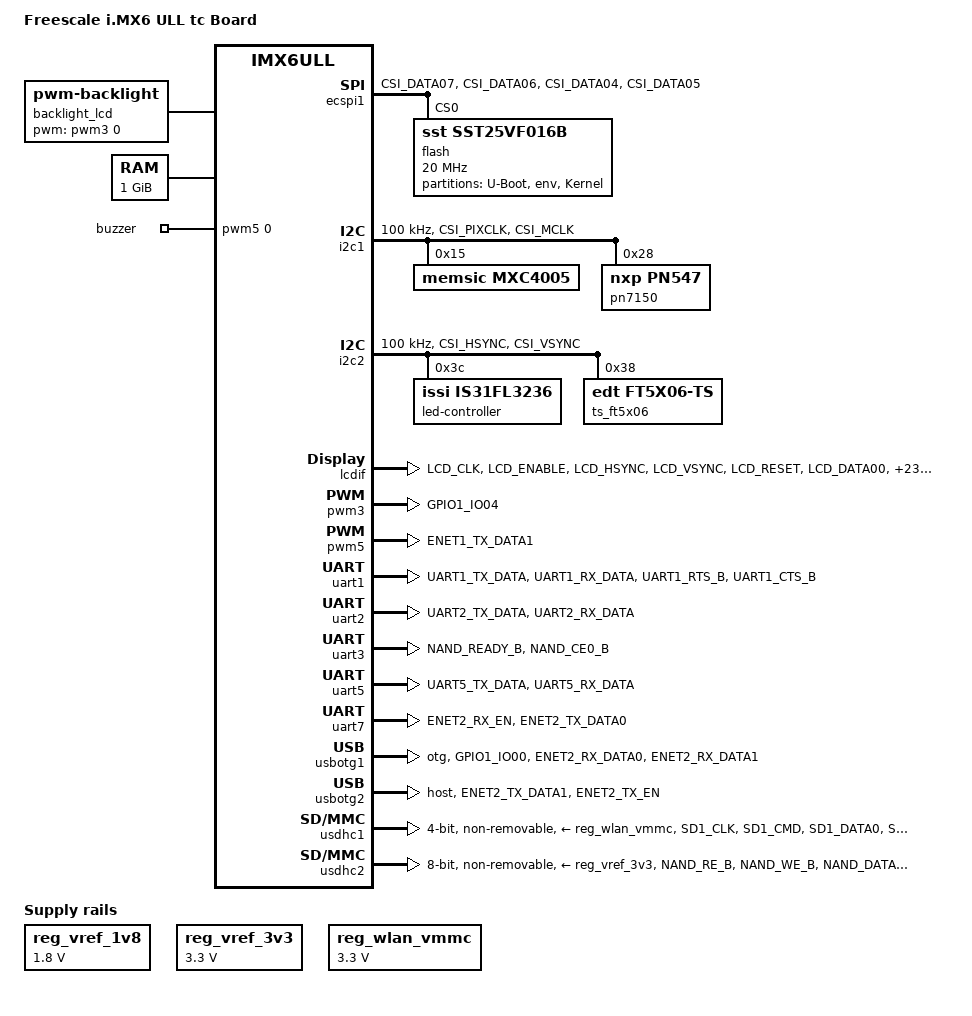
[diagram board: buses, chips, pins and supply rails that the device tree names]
// SPDX-License-Identifier: (GPL-2.0+ OR MIT)
/*
 * Copyright 2021 Boundary Devices
 */

/dts-v1/;

#include <dt-bindings/input/input.h>
#include "imx6ull.dtsi"

&iomuxc {
	pinctrl-names = "default";
	pinctrl-0 = <&pinctrl_hog>;

	pinctrl_backlight_lcd: backlight-lcdgrp {
		fsl,pins = <
#define GP_BACKLIGHT_LCD	<&gpio1 9 GPIO_ACTIVE_HIGH>
			MX6UL_PAD_GPIO1_IO09__GPIO1_IO09	0x030b0
		>;
	};

	pinctrl_bt_rfkill: bt-rfkillgrp {
		fsl,pins = <
#define GP_BT_RFKILL_RESET	<&gpio4 23 GPIO_ACTIVE_LOW>
			MX6UL_PAD_CSI_DATA02__GPIO4_IO23	0x030b0
		>;
	};

	pinctrl_ecspi1: ecspi1grp {
		fsl,pins = <
			MX6UL_PAD_CSI_DATA07__ECSPI1_MISO	0x100b1
			MX6UL_PAD_CSI_DATA06__ECSPI1_MOSI	0x100b1
			MX6UL_PAD_CSI_DATA04__ECSPI1_SCLK	0x100b1
#define GP_ECSPI1_NOR_CS	<&gpio4 26 GPIO_ACTIVE_LOW>
			MX6UL_PAD_CSI_DATA05__GPIO4_IO26	0x0b0b1
		>;
	};

	pinctrl_hog: hoggrp {
		fsl,pins = <
#define GP_COIN_C		<&gpio2 3 GPIO_ACTIVE_HIGH>
			MX6UL_PAD_ENET1_TX_DATA0__GPIO2_IO03	0x1b0b0
#define GP_COIN_IN		<&gpio2 5 GPIO_ACTIVE_HIGH>
			MX6UL_PAD_ENET1_TX_EN__GPIO2_IO05	0x1b0b0
#define GP_COIN_DROP_PWR	<&gpio2 6 GPIO_ACTIVE_HIGH>
			MX6UL_PAD_ENET1_TX_CLK__GPIO2_IO06	0x1b0b0
#define GP_GPIO_0		<&gpio2 0 GPIO_ACTIVE_HIGH>
			MX6UL_PAD_ENET1_RX_DATA0__GPIO2_IO00	0x1b0b0
#define GP_GPIO_1		<&gpio2 1 GPIO_ACTIVE_HIGH>
			MX6UL_PAD_ENET1_RX_DATA1__GPIO2_IO01	0x1b0b0
#define GP_GPIO_2		<&gpio2 2 GPIO_ACTIVE_HIGH>
			MX6UL_PAD_ENET1_RX_EN__GPIO2_IO02	0x1b0b0
#define GP_GPIO_3		<&gpio2 14 GPIO_ACTIVE_HIGH>
			MX6UL_PAD_ENET2_TX_CLK__GPIO2_IO14	0x1b0b0
#define GP_GPIO_4		<&gpio2 15 GPIO_ACTIVE_HIGH>
			MX6UL_PAD_ENET2_RX_ER__GPIO2_IO15	0x1b0b0
#define GP_PROX			<&gpio2 7 GPIO_ACTIVE_HIGH>
			MX6UL_PAD_ENET1_RX_ER__GPIO2_IO07	0x1b0b0
#define GP_CARD_SENSE		<&gpio1 7 GPIO_ACTIVE_HIGH>
			MX6UL_PAD_GPIO1_IO07__GPIO1_IO07	0x1b0b0
			/* Test points */
		>;
	};

	pinctrl_i2c1: i2c1grp {
		fsl,pins = <
			MX6UL_PAD_CSI_PIXCLK__I2C1_SCL		0x4001b8b1
			MX6UL_PAD_CSI_MCLK__I2C1_SDA		0x4001b8b1
		>;
	};

	pinctrl_i2c1_1: i2c1-1grp {
		fsl,pins = <
#define GP_I2C1_SCL		<&gpio4 18 GPIO_ACTIVE_HIGH>
			MX6UL_PAD_CSI_PIXCLK__GPIO4_IO18	0x4001b8b1
#define GP_I2C1_SDA		<&gpio4 17 GPIO_ACTIVE_HIGH>
			MX6UL_PAD_CSI_MCLK__GPIO4_IO17	0x4001b8b1
		>;
	};

	pinctrl_i2c1_mxc4005: i2c1-mxc4005grp {
		fsl,pins = <
#define GPIRQ_ACC		<&gpio4 24 IRQ_TYPE_LEVEL_LOW>
			MX6UL_PAD_CSI_DATA03__GPIO4_IO24	0x1b0b0
		>;
	};

	pinctrl_i2c1_pn7150: i2c1-pn7150grp {
		fsl,pins = <
#define GP_EN_PN7150		<&gpio1 6 GPIO_ACTIVE_HIGH>
			MX6UL_PAD_GPIO1_IO06__GPIO1_IO06	0x0b0b0
#define GPIRQ_PN7150		<&gpio1 5 GPIO_ACTIVE_LOW>
			MX6UL_PAD_GPIO1_IO05__GPIO1_IO05	0x1b0b0
		>;
	};

	pinctrl_i2c2: i2c2grp {
		fsl,pins = <
			MX6UL_PAD_CSI_HSYNC__I2C2_SCL		0x4001b8b1
			MX6UL_PAD_CSI_VSYNC__I2C2_SDA		0x4001b8b1
		>;
	};

	pinctrl_i2c2_1: i2c2-1grp {
		fsl,pins = <
#define GP_I2C2_SCL		<&gpio4 20 GPIO_ACTIVE_HIGH>
			MX6UL_PAD_CSI_HSYNC__GPIO4_IO20		0x4001b8b1
#define GP_I2C2_SDA		<&gpio4 19 GPIO_ACTIVE_HIGH>
			MX6UL_PAD_CSI_VSYNC__GPIO4_IO19		0x4001b8b1
		>;
	};

	pinctrl_i2c2_is31fl3236: i2c2-is31fl3236grp {
		fsl,pins = <
#define GP_I2C2_IS31_SHUTDOWN	<&gpio1 8 GPIO_ACTIVE_LOW>
			MX6UL_PAD_GPIO1_IO08__GPIO1_IO08	0x0b0b0
		>;
	};

	pinctrl_lcdif: lcdifgrp {
		fsl,pins = <
			MX6UL_PAD_LCD_CLK__LCDIF_CLK		0x79
			MX6UL_PAD_LCD_ENABLE__GPIO3_IO01	0x30b0
			MX6UL_PAD_LCD_HSYNC__LCDIF_HSYNC	0x79
			MX6UL_PAD_LCD_VSYNC__LCDIF_VSYNC	0x79
			MX6UL_PAD_LCD_RESET__GPIO3_IO04		0xb0b0
			MX6UL_PAD_LCD_DATA00__LCDIF_DATA00	0x79
			MX6UL_PAD_LCD_DATA01__LCDIF_DATA01	0x79
			MX6UL_PAD_LCD_DATA02__LCDIF_DATA02	0x79
			MX6UL_PAD_LCD_DATA03__LCDIF_DATA03	0x79
			MX6UL_PAD_LCD_DATA04__LCDIF_DATA04	0x79
			MX6UL_PAD_LCD_DATA05__LCDIF_DATA05	0x79
			MX6UL_PAD_LCD_DATA06__LCDIF_DATA06	0x79
			MX6UL_PAD_LCD_DATA07__LCDIF_DATA07	0x79
			MX6UL_PAD_LCD_DATA08__LCDIF_DATA08	0x79
			MX6UL_PAD_LCD_DATA09__LCDIF_DATA09	0x79
			MX6UL_PAD_LCD_DATA10__LCDIF_DATA10	0x79
			MX6UL_PAD_LCD_DATA11__LCDIF_DATA11	0x79
			MX6UL_PAD_LCD_DATA12__LCDIF_DATA12	0x79
			MX6UL_PAD_LCD_DATA13__LCDIF_DATA13	0x79
			MX6UL_PAD_LCD_DATA14__LCDIF_DATA14	0x79
			MX6UL_PAD_LCD_DATA15__LCDIF_DATA15	0x79
			MX6UL_PAD_LCD_DATA16__LCDIF_DATA16	0x79
			MX6UL_PAD_LCD_DATA17__LCDIF_DATA17	0x79
			MX6UL_PAD_LCD_DATA18__LCDIF_DATA18	0x79
			MX6UL_PAD_LCD_DATA19__LCDIF_DATA19	0x79
			MX6UL_PAD_LCD_DATA20__LCDIF_DATA20	0x79
			MX6UL_PAD_LCD_DATA21__LCDIF_DATA21	0x79
			MX6UL_PAD_LCD_DATA22__LCDIF_DATA22	0x79
			MX6UL_PAD_LCD_DATA23__LCDIF_DATA23	0x79
		>;
	};

	pinctrl_pwm3: pwm3grp {
		/* Backlight */
		fsl,pins = <
			MX6UL_PAD_GPIO1_IO04__PWM3_OUT		0x030b0
		>;
	};

	pinctrl_pwm5: pwm5grp {
		/* Buzzer */
		fsl,pins = <
			MX6UL_PAD_ENET1_TX_DATA1__PWM5_OUT	0x030b0
		>;
	};

	pinctrl_reg_wlan_vmmc: reg-wlan-vmmcgrp {
		fsl,pins = <
#define GP_REG_WLAN_VMMC	<&gpio4 22 GPIO_ACTIVE_HIGH>
			MX6UL_PAD_CSI_DATA01__GPIO4_IO22	0x030b0
		>;
	};

	pinctrl_ts_ft5x06: ts-ft5x06grp {
		fsl,pins = <
#define GPIRQ_TS_FT5X06		<&gpio1 1 IRQ_TYPE_EDGE_FALLING>
#define GP_TS_FT5X06_IRQ	<&gpio1 1 GPIO_ACTIVE_LOW>
			MX6UL_PAD_GPIO1_IO01__GPIO1_IO01	0x1b0b0
#define GP_TS_FT5X06_RESET	<&gpio1 2 GPIO_ACTIVE_LOW>
			MX6UL_PAD_GPIO1_IO02__GPIO1_IO02	0x0b0b0
		>;
	};

	pinctrl_uart1: uart1grp {
		fsl,pins = <
			MX6UL_PAD_UART1_TX_DATA__UART1_DCE_TX	0x1b0b1
			MX6UL_PAD_UART1_RX_DATA__UART1_DCE_RX	0x1b0b1
			MX6UL_PAD_UART1_RTS_B__UART1_DCE_RTS	0x1b0b1
			MX6UL_PAD_UART1_CTS_B__UART1_DCE_CTS	0x1b0b1
		>;
	};

	pinctrl_uart2: uart2grp {
		fsl,pins = <
			MX6UL_PAD_UART2_TX_DATA__UART2_DCE_TX	0x1b0b1
			MX6UL_PAD_UART2_RX_DATA__UART2_DCE_RX	0x1b0b1
		>;
	};

	pinctrl_uart3: uart3grp {
		fsl,pins = <
			MX6UL_PAD_NAND_READY_B__UART3_DCE_TX	0x1b0b1
			MX6UL_PAD_NAND_CE0_B__UART3_DCE_RX	0x1b0b1
		>;
	};

	pinctrl_uart5: uart5grp {
		fsl,pins = <
			/* J9 */
			MX6UL_PAD_UART5_TX_DATA__UART5_DCE_TX	0x1b0b1
			MX6UL_PAD_UART5_RX_DATA__UART5_DCE_RX	0x1b0b1
		>;
	};

	pinctrl_uart7: uart7grp {
		fsl,pins = <
			/* J9 also */
			MX6UL_PAD_ENET2_RX_EN__UART7_DCE_TX	0x1b0b1
			MX6UL_PAD_ENET2_TX_DATA0__UART7_DCE_RX	0x1b0b1
		>;
	};

	pinctrl_usbotg1: usbotg1grp {
		fsl,pins = <
			MX6UL_PAD_GPIO1_IO00__ANATOP_OTG1_ID	0x1b0b0
			MX6UL_PAD_ENET2_RX_DATA0__USB_OTG1_PWR	0x030b0
			MX6UL_PAD_ENET2_RX_DATA1__USB_OTG1_OC	0x1b0b0
		>;
	};

	pinctrl_usbotg2: usbotg2grp {
		fsl,pins = <
			MX6UL_PAD_ENET2_TX_DATA1__USB_OTG2_PWR	0x030b0
			MX6UL_PAD_ENET2_TX_EN__USB_OTG2_OC	0x1b0b0
		>;
	};

	pinctrl_usdhc1_50mhz: usdhc1-50mhzgrp {
		/* QCA9377-3 */
		fsl,pins = <
			MX6UL_PAD_SD1_CLK__USDHC1_CLK		0x10031
			MX6UL_PAD_SD1_CMD__USDHC1_CMD		0x17031
			MX6UL_PAD_SD1_DATA0__USDHC1_DATA0	0x17031
			MX6UL_PAD_SD1_DATA1__USDHC1_DATA1	0x17031
			MX6UL_PAD_SD1_DATA2__USDHC1_DATA2	0x17031
			MX6UL_PAD_SD1_DATA3__USDHC1_DATA3	0x17031
			MX6UL_PAD_GPIO1_IO03__OSC32K_32K_OUT	0x100b0		/* slow clock */
#define GP_BT_UART_WH		<&gpio4 21 GPIO_ACTIVE_HIGH>
			MX6UL_PAD_CSI_DATA00__GPIO4_IO21	0x1b0b0
#define GPIRQ_WLAN		<&gpio4 16 IRQ_TYPE_LEVEL_LOW>
			MX6UL_PAD_NAND_DQS__GPIO4_IO16		0x1b0b0
		>;
	};

	pinctrl_usdhc1_100mhz: usdhc1-50mhzgrp {
		fsl,pins = <
			MX6UL_PAD_SD1_CLK__USDHC1_CLK		0x100b9
			MX6UL_PAD_SD1_CMD__USDHC1_CMD		0x170b9
			MX6UL_PAD_SD1_DATA0__USDHC1_DATA0	0x170b9
			MX6UL_PAD_SD1_DATA1__USDHC1_DATA1	0x170b9
			MX6UL_PAD_SD1_DATA2__USDHC1_DATA2	0x170b9
			MX6UL_PAD_SD1_DATA3__USDHC1_DATA3	0x170b9
		>;
	};

	pinctrl_usdhc1_200mhz: usdhc1-50mhzgrp {
		fsl,pins = <
			MX6UL_PAD_SD1_CLK__USDHC1_CLK		0x100f9
			MX6UL_PAD_SD1_CMD__USDHC1_CMD		0x170f9
			MX6UL_PAD_SD1_DATA0__USDHC1_DATA0	0x170f9
			MX6UL_PAD_SD1_DATA1__USDHC1_DATA1	0x170f9
			MX6UL_PAD_SD1_DATA2__USDHC1_DATA2	0x170f9
			MX6UL_PAD_SD1_DATA3__USDHC1_DATA3	0x170f9
		>;
	};

	pinctrl_usdhc2_50mhz: usdhc2-50mhzgrp {
		fsl,pins = <
			MX6UL_PAD_NAND_RE_B__USDHC2_CLK		0x10071
			MX6UL_PAD_NAND_WE_B__USDHC2_CMD		0x17071
			MX6UL_PAD_NAND_DATA00__USDHC2_DATA0	0x17071
			MX6UL_PAD_NAND_DATA01__USDHC2_DATA1	0x17071
			MX6UL_PAD_NAND_DATA02__USDHC2_DATA2	0x17071
			MX6UL_PAD_NAND_DATA03__USDHC2_DATA3	0x17071
			MX6UL_PAD_NAND_DATA04__USDHC2_DATA4	0x17071
			MX6UL_PAD_NAND_DATA05__USDHC2_DATA5	0x17071
			MX6UL_PAD_NAND_DATA06__USDHC2_DATA6	0x17071
			MX6UL_PAD_NAND_DATA07__USDHC2_DATA7	0x17071
			MX6UL_PAD_NAND_ALE__USDHC2_RESET_B	0x17071
		>;
	};

	pinctrl_usdhc2_100mhz: usdhc2-100mhzgrp {
		fsl,pins = <
			MX6UL_PAD_NAND_RE_B__USDHC2_CLK		0x100b9
			MX6UL_PAD_NAND_WE_B__USDHC2_CMD		0x170b9
			MX6UL_PAD_NAND_DATA00__USDHC2_DATA0	0x170b9
			MX6UL_PAD_NAND_DATA01__USDHC2_DATA1	0x170b9
			MX6UL_PAD_NAND_DATA02__USDHC2_DATA2	0x170b9
			MX6UL_PAD_NAND_DATA03__USDHC2_DATA3	0x170b9
			MX6UL_PAD_NAND_DATA04__USDHC2_DATA4	0x170b9
			MX6UL_PAD_NAND_DATA05__USDHC2_DATA5	0x170b9
			MX6UL_PAD_NAND_DATA06__USDHC2_DATA6	0x170b9
			MX6UL_PAD_NAND_DATA07__USDHC2_DATA7	0x170b9
		>;
	};

	pinctrl_usdhc2_200mhz: usdhc2-200mhzgrp {
		fsl,pins = <
			MX6UL_PAD_NAND_RE_B__USDHC2_CLK		0x100f9
			MX6UL_PAD_NAND_WE_B__USDHC2_CMD		0x170f9
			MX6UL_PAD_NAND_DATA00__USDHC2_DATA0	0x170f9
			MX6UL_PAD_NAND_DATA01__USDHC2_DATA1	0x170f9
			MX6UL_PAD_NAND_DATA02__USDHC2_DATA2	0x170f9
			MX6UL_PAD_NAND_DATA03__USDHC2_DATA3	0x170f9
			MX6UL_PAD_NAND_DATA04__USDHC2_DATA4	0x170f9
			MX6UL_PAD_NAND_DATA05__USDHC2_DATA5	0x170f9
			MX6UL_PAD_NAND_DATA06__USDHC2_DATA6	0x170f9
			MX6UL_PAD_NAND_DATA07__USDHC2_DATA7	0x170f9
		>;
	};
};

/ {
	model = "Freescale i.MX6 ULL tc Board";
	compatible = "fsl,imx6ull-tc", "fsl,imx6ull";

	aliases {
		backlight_lcd = &backlight_lcd;
		fb_lcd = &lcdif;
		lcd = &display0;
		mmc0 = &usdhc2;
		mmc1 = &usdhc1;
		t_lcd = &t_lcd;
	};

	backlight_lcd: backlight-lcd {
		brightness-levels = <0 1 2 3 4 5 6 7 8 9 10>;
		compatible = "pwm-backlight";
		display = <&lcdif>;
		default-brightness-level = <8>;
		enable-gpios = GP_BACKLIGHT_LCD;
		pinctrl-names = "default";
		pinctrl-0 = <&pinctrl_backlight_lcd>;
		pwms = <&pwm3 0 30000 0>;
		status = "okay";

	};

	bt-rfkill {
		compatible = "net,rfkill-gpio";
		pinctrl-names = "default";
		pinctrl-0 = <&pinctrl_bt_rfkill>;
		name = "bt-rfkill";
		type = <2>; /* Bluetooth */
		reset-gpios = GP_BT_RFKILL_RESET;
		status = "okay";
	};

	memory {
		reg = <0x80000000 0x40000000>;
	};

	pwmleds {
		compatible = "pwm-leds";
		piezo {
			label = "buzzer";
			pwms = <&pwm5 0 7812500 0>;
			max-brightness = <256>;
		};
	};

	reg_vref_1v8: regulator-vref-1v8 {
		compatible = "regulator-fixed";
		regulator-name = "vref-1v8";
		regulator-min-microvolt = <1800000>;
		regulator-max-microvolt = <1800000>;
		regulator-always-on;
	};

	reg_vref_3v3: regulator-vref-3v3 {
		compatible = "regulator-fixed";
		regulator-name = "vref-3v3";
		regulator-min-microvolt = <3300000>;
		regulator-max-microvolt = <3300000>;
		regulator-always-on;
	};

	reg_wlan_vmmc: regulator-wlan-vmmc {
		compatible = "regulator-fixed";
		pinctrl-names = "default";
		pinctrl-0 = <&pinctrl_reg_wlan_vmmc>;
		regulator-name = "reg_wlan_vmmc";
		regulator-min-microvolt = <3300000>;
		regulator-max-microvolt = <3300000>;
		gpio = GP_REG_WLAN_VMMC;
		startup-delay-us = <70000>;
		enable-active-high;
	};

	reserved-memory {
		#address-cells = <1>;
		#size-cells = <1>;
		ranges;

		linux,cma {
			compatible = "shared-dma-pool";
			reusable;
			size = <0x04000000>;
			linux,cma-default;
		};
	};
};

&ecspi1 {
	fsl,spi-num-chipselects = <1>;
	cs-gpios = GP_ECSPI1_NOR_CS;
	pinctrl-names = "default";
	pinctrl-0 = <&pinctrl_ecspi1>;
	status = "okay";

	flash: m25p80@0 {
		compatible = "sst,sst25vf016b";
		spi-max-frequency = <20000000>;
		reg = <0>;
		#address-cells = <1>;
		#size-cells = <1>;
		partition@0 {
			label = "U-Boot";
			reg = <0x0 0xC0000>;
			read-only;
		};
		partition@C0000 {
			label = "env";
			reg = <0xC0000 0x2000>;
			read-only;
		};
		partition@C2000 {
			label = "Kernel";
			reg = <0xC2000 0x13e000>;
		};
	};
};

&i2c1 {
	clock-frequency = <100000>;
	pinctrl-names = "default", "gpio";
	pinctrl-0 = <&pinctrl_i2c1>;
	pinctrl-1 = <&pinctrl_i2c1_1>;
	scl-gpios = GP_I2C1_SCL;
	sda-gpios = GP_I2C1_SDA;
	status = "okay";

	mxc4005@15 {
		compatible = "memsic,mxc4005";
		reg = <0x15>;
		pinctrl-names = "default";
		pinctrl-0 = <&pinctrl_i2c1_mxc4005>;
		interrupt-gpios = GPIRQ_ACC;
		status = "okay";
	};

	pn7150@28 {
		compatible = "nxp,pn547";
		reg = <0x28>;
		pinctrl-names = "default";
		pinctrl-0 = <&pinctrl_i2c1_pn7150>;
		interrupt-gpios = GPIRQ_PN7150;
		enable-gpios = GP_EN_PN7150;
		status = "okay";
	};
};

&i2c2 {
	clock-frequency = <100000>;
	pinctrl-names = "default", "gpio";
	pinctrl-0 = <&pinctrl_i2c2>;
	pinctrl-1 = <&pinctrl_i2c2_1>;
	scl-gpios = GP_I2C2_SCL;
	sda-gpios = GP_I2C2_SDA;
	status = "okay";

	led-controller@3c {
		compatible = "issi,is31fl3236";
		pinctrl-names = "default";
		pinctrl-0 = <&pinctrl_i2c2_is31fl3236>;
		shutdown-gpios = GP_I2C2_IS31_SHUTDOWN;
		reg = <0x3c>;
		#address-cells = <1>;
		#size-cells = <0>;

		led@1 {
			reg = <1>;
			label = "out1";
		};
		led@2 {
			reg = <2>;
			label = "out2";
		};
		led@3 {
			reg = <3>;
			label = "out3";
		};
		led@4 {
			reg = <4>;
			label = "out4";
		};
		led@5 {
			reg = <5>;
			label = "out5";
		};
		led@6 {
			reg = <6>;
			label = "out6";
		};
		led@7 {
			reg = <7>;
			label = "out7";
		};
		led@8 {
			reg = <8>;
			label = "out8";
		};
		led@9 {
			reg = <9>;
			label = "out9";
		};
		led@10 {
			reg = <10>;
			label = "out10";
		};
		led@11 {
			reg = <11>;
			label = "out11";
		};
		led@12 {
			reg = <12>;
			label = "out12";
		};
		led@13 {
			reg = <13>;
			label = "out13";
		};
		led@14 {
			reg = <14>;
			label = "out14";
		};
		led@15 {
			reg = <15>;
			label = "out15";
		};
		led@16 {
			reg = <16>;
			label = "out16";
		};
		led@17 {
			reg = <17>;
			label = "out17";
		};
		led@18 {
			reg = <18>;
			label = "out18";
		};
		led@19 {
			reg = <19>;
			label = "out19";
		};
		led@20 {
			reg = <20>;
			label = "out20";
		};
		led@21 {
			reg = <21>;
			label = "out21";
		};
		led@22 {
			reg = <22>;
			label = "out22";
		};
		led@23 {
			reg = <23>;
			label = "out23";
		};
		led@24 {
			reg = <24>;
			label = "out24";
		};
		led@25 {
			reg = <25>;
			label = "out25";
		};
		led@26 {
			reg = <26>;
			label = "out26";
		};
		led@27 {
			reg = <27>;
			label = "out27";
		};
		led@28 {
			reg = <28>;
			label = "out28";
		};
		led@29 {
			reg = <29>;
			label = "out29";
		};
		led@30 {
			reg = <30>;
			label = "out30";
		};
	};

	ts_ft5x06: touchscreen@38 {
		compatible = "edt,ft5x06-ts";
		interrupts-extended = GPIRQ_TS_FT5X06;
		pinctrl-names = "default";
		pinctrl-0 = <&pinctrl_ts_ft5x06>;
		reg = <0x38>;
		reset-gpios = GP_TS_FT5X06_RESET;
		status = "okay";
		wakeup-gpios = GP_TS_FT5X06_IRQ;
		wakeup-source;
	};
};

&lcdif {
	display = <&display0>;
	pinctrl-names = "default";
	pinctrl-0 = <&pinctrl_lcdif>;
	status = "okay";

	display0: lcd-display {
		bits-per-pixel = <24>;
		bus-width = <24>;

		display-timings {
			native-mode = <&t_lcd>;
			t_lcd: t-lcd-default {
				/* default to Kingtech PV03505YP54D display */
				clock-frequency = <6500000>;
				hactive = <320>;
				vactive = <240>;
				hback-porch = <64>;
				hfront-porch = <20>;
				hsync-len = <4>;
				vback-porch = <16>;
				vfront-porch = <4>;
				vsync-len = <2>;
				hsync-active = <0>;
				vsync-active = <0>;
				de-active = <0>;
				pixelclk-active = <0>;
			};
		};
	};
};

&pwm3 {
	pinctrl-names = "default";
	pinctrl-0 = <&pinctrl_pwm3>;
	status = "okay";
};

&pwm5 {
	pinctrl-names = "default";
	pinctrl-0 = <&pinctrl_pwm5>;
	status = "okay";
};

&uart1 { /* bluetooth */
	pinctrl-names = "default";
	pinctrl-0 = <&pinctrl_uart1>;
	status = "okay";
	uart-has-rtscts;
};

&uart2 { /* console (J1) */
	pinctrl-names = "default";
	pinctrl-0 = <&pinctrl_uart2>;
	status = "okay";
};

&uart3 { /* washer */
	pinctrl-names = "default";
	pinctrl-0 = <&pinctrl_uart3>;
	status = "okay";
};

&uart5 { /* J9 */
	pinctrl-names = "default";
	pinctrl-0 = <&pinctrl_uart5>;
	status = "okay";
};

&uart7 { /* J9 also */
	pinctrl-names = "default";
	pinctrl-0 = <&pinctrl_uart7>;
	status = "okay";
};

&usbotg1 {
	dr_mode = "otg";
	over-current-active-low;
	pinctrl-names = "default";
	pinctrl-0 = <&pinctrl_usbotg1>;
	power-active-high;
	status = "okay";
};

&usbotg2 {
	dr_mode = "host";
	over-current-active-low;
	pinctrl-names = "default";
	pinctrl-0 = <&pinctrl_usbotg2>;
	power-active-high;
	status = "okay";
};

&usdhc1 {
	bus-width = <4>;
	keep-power-in-suspend;
	no-sd-uhs-sdr104;
	non-removable;
	pinctrl-names = "default", "state_100mhz", "state_200mhz";
	pinctrl-0 = <&pinctrl_usdhc1_50mhz>;
	pinctrl-1 = <&pinctrl_usdhc1_100mhz>;
	pinctrl-2 = <&pinctrl_usdhc1_200mhz>;
	pm-ignore-notify;
	status = "okay";
	vmmc-supply = <&reg_wlan_vmmc>;
	vqmmc-1-8-v;
	vqmmc-supply = <&reg_vref_1v8>;
};

&usdhc2 {
	bus-width = <8>;
	keep-power-in-suspend;
	no-mmc-hs400;
	non-removable;
	pinctrl-names = "default", "state_100mhz", "state_200mhz";
	pinctrl-0 = <&pinctrl_usdhc2_50mhz>;
	pinctrl-1 = <&pinctrl_usdhc2_100mhz>;
	pinctrl-2 = <&pinctrl_usdhc2_200mhz>;
	status = "okay";
	vmmc-supply = <&reg_vref_3v3>;
	vqmmc-1-8-v;
	vqmmc-supply = <&reg_vref_1v8>;
};
